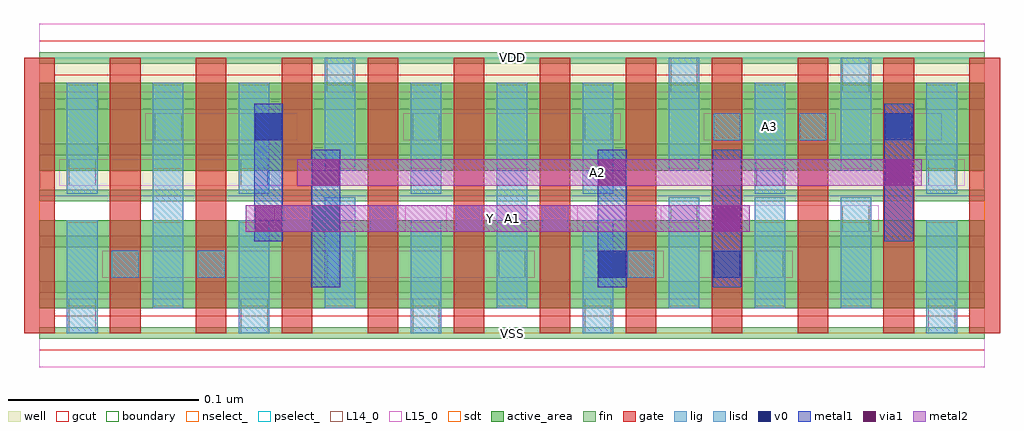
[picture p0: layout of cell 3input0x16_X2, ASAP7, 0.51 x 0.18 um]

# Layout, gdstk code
import gdstk
lib = gdstk.Library(unit=1e-6, precision=2.5e-10)
def R(c, l, rs):  # rectangles x0, y0, x1, y1
    for r in rs: c.add(gdstk.rectangle(r[:2], r[2:], *l))
def A(c, l, x, y, w, h, nx, ny, dx, dy):  # array of equal rectangles
    R(c, l, [(x+i*dx, y+j*dy, x+i*dx+w, y+j*dy+h) for i in range(nx) for j in range(ny)])
def P(c, l, *ps):  # polygons
    for p in ps: c.add(gdstk.Polygon(p, *l))
well = (1, 0)
fin = (2, 0)
gate = (7, 0)
gcut = (10, 0)
active_area = (11, 0)
nselect_ = (12, 0)
pselect_ = (13, 0)
L14_0 = (14, 0)
L15_0 = (15, 0)
lig = (16, 0)
lisd = (17, 0)
v0 = (18, 0)
metal1 = (19, 0)
metal2 = (20, 0)
via1 = (21, 0)
sdt = (88, 0)
boundary = (100, 0)

c_3input0x16_x2 = lib.new_cell('3input0x16_X2')
R(c_3input0x16_x2, well, [(0,0.072,0.495,0.144)])
A(c_3input0x16_x2, fin, 0, -0.003, 0.495, 0.006, 1, 7, 0, 0.024)
A(c_3input0x16_x2, gate, -0.008, 0, 0.016, 0.144, 12, 1, 0.045, 0)
P(c_3input0x16_x2, gcut, [(0,-0.009),(0,0),(-0.008,0),(-0.008,0.135),(0.008,0.135),(0.008,0.009),(0.487,0.009),(0.487,0.135),(-0.008,0.135),(-0.008,0.144),(0,0.144),(0,0.153),(0.495,0.153),(0.495,0.144),(0.503,0.144),(0.503,0),(0.495,0),(0.495,-0.009)])
R(c_3input0x16_x2, active_area, [(0,0.013,0.495,0.059), (0,0.085,0.495,0.131)])
R(c_3input0x16_x2, nselect_, [(0,0,0.495,0.072)])
R(c_3input0x16_x2, pselect_, [(0,0.072,0.495,0.144)])
A(c_3input0x16_x2, L14_0, 0.0155, 0, 0.014, 0.018, 4, 1, 0.09, 0)
A(c_3input0x16_x2, L14_0, 0.2405, 0.029, 0.014, 0.014, 3, 1, 0.0675, 0)
A(c_3input0x16_x2, L14_0, 0.128, 0.053, 0.014, 0.014, 4, 1, 0.045, 0)
A(c_3input0x16_x2, L14_0, 0.353, 0.101, 0.014, 0.014, 3, 1, 0.045, 0)
R(c_3input0x16_x2, L14_0, [(0.4655,0,0.4795,0.018), (0.038,0.029,0.052,0.043), (0.083,0.029,0.097,0.043), (0.1505,0.029,0.1645,0.043), (0.3305,0.053,0.3445,0.067), (0.4205,0.053,0.4345,0.067), (0.0155,0.077,0.0295,0.091), (0.1055,0.077,0.1195,0.091), (0.3755,0.077,0.3895,0.091), (0.4655,0.077,0.4795,0.091), (0.0605,0.101,0.0745,0.115), (0.1955,0.101,0.2095,0.115), (0.2855,0.101,0.2995,0.115), (0.1505,0.126,0.1645,0.144), (0.3305,0.126,0.3445,0.144), (0.4205,0.126,0.4345,0.144)])
R(c_3input0x16_x2, L15_0, [(0,-0.018,0.495,0.018), (0.033,0.029,0.2595,0.043), (0.285,0.029,0.327,0.043), (0.345,0.029,0.3945,0.043), (0.123,0.053,0.192,0.067), (0.213,0.053,0.282,0.067), (0.3255,0.053,0.4395,0.067), (0.0105,0.077,0.4845,0.091), (0.0555,0.101,0.135,0.115), (0.1905,0.101,0.3045,0.115), (0.348,0.101,0.417,0.115), (0.435,0.101,0.4725,0.115), (0,0.126,0.495,0.162)])
A(c_3input0x16_x2, lig, 0.128, 0.053, 0.014, 0.014, 4, 1, 0.045, 0)
A(c_3input0x16_x2, lig, 0.353, 0.101, 0.014, 0.014, 3, 1, 0.045, 0)
R(c_3input0x16_x2, lig, [(0.038,0.029,0.052,0.043), (0.083,0.029,0.097,0.043), (0.308,0.029,0.322,0.043)])
A(c_3input0x16_x2, lisd, 0.0145, 0, 0.016, 0.059, 4, 1, 0.09, 0)
A(c_3input0x16_x2, lisd, 0.3295, 0.013, 0.016, 0.058, 3, 1, 0.045, 0)
A(c_3input0x16_x2, lisd, 0.0145, 0.073, 0.016, 0.058, 6, 1, 0.09, 0)
R(c_3input0x16_x2, lisd, [(0.4645,0,0.4805,0.059), (0.0595,0.013,0.0755,0.131), (0.1495,0.013,0.1655,0.071), (0.2395,0.013,0.2555,0.131), (0.1495,0.085,0.1655,0.144), (0.3295,0.085,0.3455,0.144), (0.4195,0.085,0.4355,0.144)])
R(c_3input0x16_x2, v0, [(0.293,0.029,0.307,0.043), (0.353,0.029,0.367,0.043), (0.143,0.053,0.157,0.067), (0.113,0.101,0.127,0.115), (0.443,0.101,0.457,0.115)])
R(c_3input0x16_x2, metal1, [(0.1425,0.024,0.1575,0.096), (0.2925,0.024,0.3075,0.096), (0.3525,0.024,0.3675,0.096), (0.1125,0.048,0.1275,0.12), (0.4425,0.048,0.4575,0.12)])
R(c_3input0x16_x2, metal2, [(0.108,0.053,0.372,0.067), (0.135,0.077,0.462,0.091)])
A(c_3input0x16_x2, via1, 0.143, 0.077, 0.014, 0.014, 3, 1, 0.15, 0)
R(c_3input0x16_x2, via1, [(0.113,0.053,0.127,0.067), (0.353,0.053,0.367,0.067)])
A(c_3input0x16_x2, sdt, 0.0145, 0.014, 0.016, 0.044, 11, 2, 0.045, 0.072)
R(c_3input0x16_x2, boundary, [(0,0,0.495,0.144)])
c_3input0x16_x2.add(gdstk.Label('VSS', (0.2475,0), layer=15, texttype=251))
c_3input0x16_x2.add(gdstk.Label('VDD', (0.2475,0.144), layer=15, texttype=251))
c_3input0x16_x2.add(gdstk.Label('A3', (0.3825,0.108), layer=15, texttype=251))
c_3input0x16_x2.add(gdstk.Label('VSS', (0.2475,0), layer=15, texttype=251))
c_3input0x16_x2.add(gdstk.Label('VDD', (0.2475,0.144), layer=15, texttype=251))
c_3input0x16_x2.add(gdstk.Label('A1', (0.2475,0.06), layer=15, texttype=251))
c_3input0x16_x2.add(gdstk.Label('VSS', (0.2475,0), layer=15, texttype=251))
c_3input0x16_x2.add(gdstk.Label('VDD', (0.2475,0.144), layer=15, texttype=251))
c_3input0x16_x2.add(gdstk.Label('VSS', (0.2475,0), layer=15, texttype=251))
c_3input0x16_x2.add(gdstk.Label('VDD', (0.2475,0.144), layer=15, texttype=251))
c_3input0x16_x2.add(gdstk.Label('A2', (0.2925,0.084), layer=20, texttype=251))
c_3input0x16_x2.add(gdstk.Label('Y', (0.2363,0.06), layer=20, texttype=251))
c_3input0x16_x2.add(gdstk.Label('VSS', (0.2475,0), layer=3, texttype=251))
c_3input0x16_x2.add(gdstk.Label('VSS', (0.2475,0), layer=3, texttype=251))
c_3input0x16_x2.add(gdstk.Label('VSS', (0.2475,0), layer=3, texttype=251))
c_3input0x16_x2.add(gdstk.Label('VSS', (0.2475,0), layer=3, texttype=251))
c_3input0x16_x2.add(gdstk.Label('VDD', (0.2475,0.144), layer=1, texttype=251))
c_3input0x16_x2.add(gdstk.Label('VDD', (0.2475,0.144), layer=1, texttype=251))
c_3input0x16_x2.add(gdstk.Label('VDD', (0.2475,0.144), layer=1, texttype=251))
c_3input0x16_x2.add(gdstk.Label('VDD', (0.2475,0.144), layer=1, texttype=251))

lib.write_gds('3input0x16_X2.gds')
